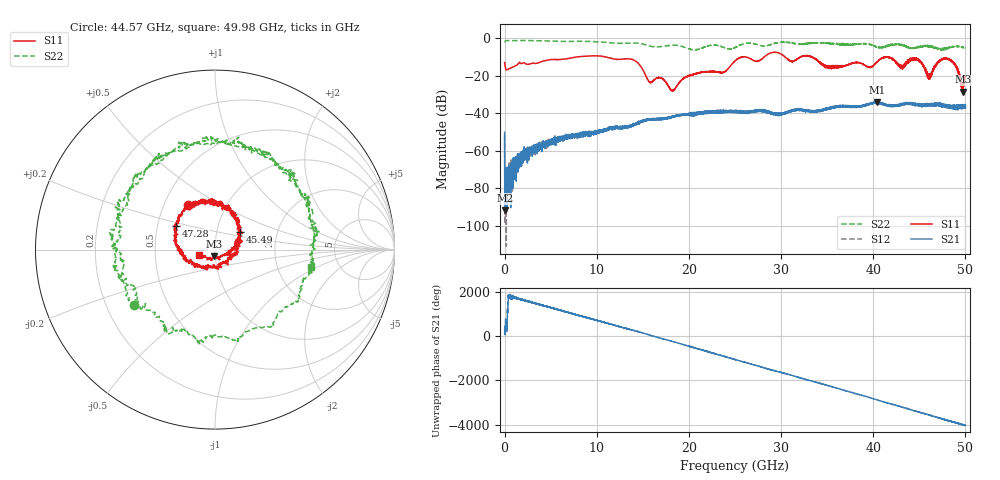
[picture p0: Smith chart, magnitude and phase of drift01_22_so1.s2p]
!Created with skrf (http://scikit-rf.org).
# Hz S RI R 50.0
!freq ReS11 ImS11 ReS21 ImS21 ReS12 ImS12 ReS22 ImS22
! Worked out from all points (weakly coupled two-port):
!   10001 points, 300 kHz to 50 GHz, reference 50 ohm
!   highest |S21| = -34.11 dB at 40.46 GHz (marker M1); lowest = -91.6 dB at 85.3 MHz (marker M2)
!   lowest |S11| = -28.6 dB at 49.72 GHz (marker M3), VSWR 1.08, Z = 49.6 - j3.69 ohm
!   |S11| at or under -10 dB: 10.88 GHz to 26 GHz (15.12 GHz wide, 82 % of centre); 33.27 GHz to 41.4 GHz (8.132 GHz wide, 21.8 % of centre); 41.41 GHz to end of sweep (the widest 3 of 12)
!   |S22| runs from -6.5 to -1.4 dB; largest |S21 - S12| = 0.0047
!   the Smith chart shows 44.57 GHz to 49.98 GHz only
!   S11 on the Smith chart (normalised r, x): 44.57 GHz: 0.66, +0.36; 45.49 GHz: 1.29, +0.26; 47.28 GHz: 0.62, +0.18; 49.98 GHz: 0.83, -0.05
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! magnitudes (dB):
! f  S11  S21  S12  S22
! 300 kHz  -13.1  -50.1  -51.6  -2.1
! 85.3 MHz  -15.9  -91.6  -78.1  -1.5
! 265.3 MHz  -16.9  -72.2  -70.5  -1.4
! 2.795 GHz  -13.8  -58.6  -59.4  -1.4
! 8.335 GHz  -9.9  -51.2  -50.9  -1.8
! 13.78 GHz  -11.4  -46.9  -46.5  -2.7
! 15.73 GHz  -23.5  -43.3  -43.4  -4.3
! 16.67 GHz  -21.1  -43.0  -43.1  -4.8
! 18.25 GHz  -27.8  -42.1  -41.9  -3.9
! 25 GHz  -12.2  -39.3  -39.0  -5.1
! 33.34 GHz  -10.1  -39.0  -38.8  -2.7
! 35.23 GHz  -15.4  -37.2  -37.5  -2.9
! 40.46 GHz  -12.6  -34.1  -34.3  -4.9
! 41.67 GHz  -10.4  -35.8  -36.0  -4.5
! 44.57 GHz  -10.7  -35.5  -35.3  -5.3
! 45.49 GHz  -15.4  -35.9  -35.5  -4.4
! 46.13 GHz  -20.2  -36.0  -35.5  -4.6
! 47.28 GHz  -11.9  -35.3  -36.1  -5.9
! 48.69 GHz  -13.1  -36.6  -37.5  -4.6
! 49.72 GHz  -28.6  -36.7  -37.0  -5.1
! 49.98 GHz  -20.6  -35.4  -36.6  -5.3
! 50 GHz  -20.7  -35.6  -36.5  -5.3
